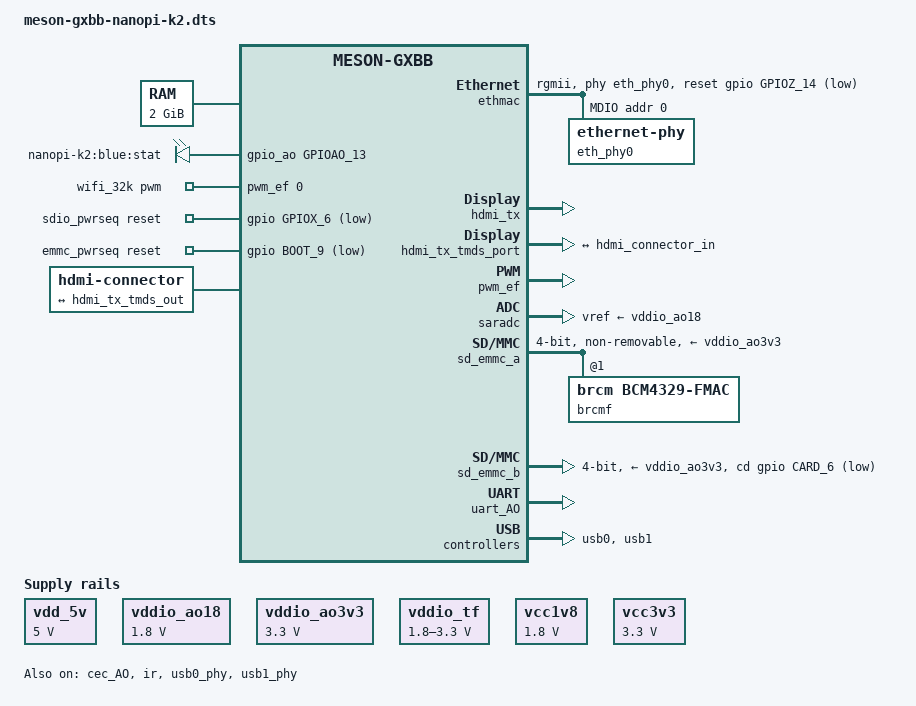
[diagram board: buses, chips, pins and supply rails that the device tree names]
// SPDX-License-Identifier: (GPL-2.0+ OR MIT)
/*
 * Copyright (c) 2017 Andreas Färber
 */

/dts-v1/;

#include "meson-gxbb.dtsi"
#include <dt-bindings/gpio/gpio.h>

/ {
	compatible = "friendlyarm,nanopi-k2", "amlogic,meson-gxbb";

	aliases {
		serial0 = &uart_AO;
		ethernet0 = &ethmac;
	};

	chosen {
		stdout-path = "serial0:115200n8";
	};

	memory@0 {
		device_type = "memory";
		reg = <0x0 0x0 0x0 0x80000000>;
	};

	leds {
		compatible = "gpio-leds";

		stat {
			label = "nanopi-k2:blue:stat";
			gpios = <&gpio_ao GPIOAO_13 GPIO_ACTIVE_HIGH>;
			default-state = "on";
			panic-indicator;
		};
	};

	vdd_5v: regulator-vdd-5v {
		compatible = "regulator-fixed";
		regulator-name = "VDD_5V";
		regulator-min-microvolt = <5000000>;
		regulator-max-microvolt = <5000000>;
	};

	vddio_ao18: regulator-vddio-ao18 {
		compatible = "regulator-fixed";
		regulator-name = "VDDIO_AO18";
		regulator-min-microvolt = <1800000>;
		regulator-max-microvolt = <1800000>;
	};

	vddio_ao3v3: regulator-vddio-ao3v3 {
		compatible = "regulator-fixed";
		regulator-name = "VDDIO_AO3.3V";
		regulator-min-microvolt = <3300000>;
		regulator-max-microvolt = <3300000>;
	};

	vddio_tf: regulator-vddio-tf {
		compatible = "regulator-gpio";

		regulator-name = "VDDIO_TF";
		regulator-min-microvolt = <1800000>;
		regulator-max-microvolt = <3300000>;

		gpios = <&gpio_ao GPIOAO_2 GPIO_ACTIVE_HIGH>;
		gpios-states = <0>;

		states = <3300000 0>,
		         <1800000 1>;

		regulator-settling-time-up-us = <100>;
		regulator-settling-time-down-us = <5000>;
	};

	wifi_32k: wifi-32k {
		compatible = "pwm-clock";
		#clock-cells = <0>;
		clock-frequency = <32768>;
		pwms = <&pwm_ef 0 30518 0>; /* PWM_E at 32.768KHz */
	};

	sdio_pwrseq: sdio-pwrseq {
		compatible = "mmc-pwrseq-simple";
		reset-gpios = <&gpio GPIOX_6 GPIO_ACTIVE_LOW>;
		clocks = <&wifi_32k>;
		clock-names = "ext_clock";
	};

	vcc1v8: regulator-vcc1v8 {
		compatible = "regulator-fixed";
		regulator-name = "VCC1.8V";
		regulator-min-microvolt = <1800000>;
		regulator-max-microvolt = <1800000>;
	};

	vcc3v3: regulator-vcc3v3 {
		compatible = "regulator-fixed";
		regulator-name = "VCC3.3V";
		regulator-min-microvolt = <3300000>;
		regulator-max-microvolt = <3300000>;
	};

	emmc_pwrseq: emmc-pwrseq {
		compatible = "mmc-pwrseq-emmc";
		reset-gpios = <&gpio BOOT_9 GPIO_ACTIVE_LOW>;
	};

	/* CVBS is available on CON1 pin 36, disabled by default */
	cvbs-connector {
		compatible = "composite-video-connector";
		status = "disabled";

		port {
			cvbs_connector_in: endpoint {
				remote-endpoint = <&cvbs_vdac_out>;
			};
		};
	};

	hdmi-connector {
		compatible = "hdmi-connector";
		type = "a";

		port {
			hdmi_connector_in: endpoint {
				remote-endpoint = <&hdmi_tx_tmds_out>;
			};
		};
	};
};

&cec_AO {
	status = "okay";
	pinctrl-0 = <&ao_cec_pins>;
	pinctrl-names = "default";
	hdmi-phandle = <&hdmi_tx>;
};

&cvbs_vdac_port {
	cvbs_vdac_out: endpoint {
		remote-endpoint = <&cvbs_connector_in>;
	};
};

&ethmac {
	status = "okay";
	pinctrl-0 = <&eth_rgmii_pins>;
	pinctrl-names = "default";

	phy-handle = <&eth_phy0>;
	phy-mode = "rgmii";

	amlogic,tx-delay-ns = <2>;

	snps,reset-gpio = <&gpio GPIOZ_14 0>;
	snps,reset-delays-us = <0 10000 1000000>;
	snps,reset-active-low;

	mdio {
		compatible = "snps,dwmac-mdio";
		#address-cells = <1>;
		#size-cells = <0>;

		eth_phy0: ethernet-phy@0 {
			/* Realtek RTL8211F (0x001cc916) */
			reg = <0>;
			interrupt-parent = <&gpio_intc>;
			/* MAC_INTR on GPIOZ_15 */
			interrupts = <29 IRQ_TYPE_LEVEL_LOW>;
		};
	};
};

&hdmi_tx {
	status = "okay";
	pinctrl-0 = <&hdmi_hpd_pins>, <&hdmi_i2c_pins>;
	pinctrl-names = "default";
};

&hdmi_tx_tmds_port {
	hdmi_tx_tmds_out: endpoint {
		remote-endpoint = <&hdmi_connector_in>;
	};
};

&ir {
	status = "okay";
	pinctrl-0 = <&remote_input_ao_pins>;
	pinctrl-names = "default";
};

&gpio_ao {
	gpio-line-names = "UART TX", "UART RX", "Power Control", "Power Key In",
			  "VCCK En", "CON1 Header Pin31",
			  "I2S Header Pin6", "IR In", "I2S Header Pin7",
			  "I2S Header Pin3", "I2S Header Pin4",
			  "I2S Header Pin5", "HDMI CEC", "SYS LED",
			  /* GPIO_TEST_N */
			  "";
};

&gpio {
	gpio-line-names = /* Bank GPIOZ */
			  "Eth MDIO", "Eth MDC", "Eth RGMII RX Clk",
			  "Eth RX DV", "Eth RX D0", "Eth RX D1", "Eth RX D2",
			  "Eth RX D3", "Eth RGMII TX Clk", "Eth TX En",
			  "Eth TX D0", "Eth TX D1", "Eth TX D2", "Eth TX D3",
			  "Eth PHY nRESET", "Eth PHY Intc",
			  /* Bank GPIOH */
			  "HDMI HPD", "HDMI DDC SDA", "HDMI DDC SCL",
			  "CON1 Header Pin33",
			  /* Bank BOOT */
			  "eMMC D0", "eMMC D1", "eMMC D2", "eMMC D3", "eMMC D4",
			  "eMMC D5", "eMMC D6", "eMMC D7", "eMMC Clk",
			  "eMMC Reset", "eMMC CMD",
			  "", "", "", "", "eMMC DS",
			  "", "",
			  /* Bank CARD */
			  "SDCard D1", "SDCard D0", "SDCard CLK", "SDCard CMD",
			  "SDCard D3", "SDCard D2", "SDCard Det",
			  /* Bank GPIODV */
			  "", "", "", "", "", "", "", "", "", "", "", "", "",
			  "", "", "", "", "", "", "", "", "", "", "",
			  "I2C A SDA", "I2C A SCK", "I2C B SDA", "I2C B SCK",
			  "VDDEE Regulator", "VCCK Regulator",
			  /* Bank GPIOY */
			  "CON1 Header Pin7", "CON1 Header Pin11",
			  "CON1 Header Pin13", "CON1 Header Pin15",
			  "CON1 Header Pin18", "CON1 Header Pin19",
			  "CON1 Header Pin22", "CON1 Header Pin21",
			  "CON1 Header Pin24", "CON1 Header Pin23",
			  "CON1 Header Pin26", "CON1 Header Pin29",
			  "CON1 Header Pin32", "CON1 Header Pin8",
			  "CON1 Header Pin10", "CON1 Header Pin16",
			  "CON1 Header Pin12",
			  /* Bank GPIOX */
			  "WIFI SDIO D0", "WIFI SDIO D1", "WIFI SDIO D2",
			  "WIFI SDIO D3", "WIFI SDIO CLK", "WIFI SDIO CMD",
			  "WIFI Power Enable", "WIFI WAKE HOST",
			  "Bluetooth PCM DOUT", "Bluetooth PCM DIN",
			  "Bluetooth PCM SYNC", "Bluetooth PCM CLK",
			  "Bluetooth UART TX", "Bluetooth UART RX",
			  "Bluetooth UART CTS", "Bluetooth UART RTS",
			  "", "", "", "WIFI 32K", "Bluetooth Enable",
			  "Bluetooth WAKE HOST", "",
			  /* Bank GPIOCLK */
			  "", "CON1 Header Pin35", "", "";
};

&pwm_ef {
	status = "okay";
	pinctrl-0 = <&pwm_e_pins>;
	pinctrl-names = "default";
	clocks = <&clkc CLKID_FCLK_DIV4>;
	clock-names = "clkin0";
};

&saradc {
	status = "okay";
	vref-supply = <&vddio_ao18>;
};

/* SDIO */
&sd_emmc_a {
	status = "okay";
	pinctrl-0 = <&sdio_pins>, <&sdio_irq_pins>;
	pinctrl-1 = <&sdio_clk_gate_pins>;
	pinctrl-names = "default", "clk-gate";
	#address-cells = <1>;
	#size-cells = <0>;

	bus-width = <4>;
	cap-sd-highspeed;
	max-frequency = <200000000>;

	non-removable;
	disable-wp;

	mmc-pwrseq = <&sdio_pwrseq>;

	vmmc-supply = <&vddio_ao3v3>;
	vqmmc-supply = <&vddio_ao18>;

	brcmf: wifi@1 {
		compatible = "brcm,bcm4329-fmac";
		reg = <1>;
	};
};

/* SD */
&sd_emmc_b {
	status = "okay";
	pinctrl-0 = <&sdcard_pins>;
	pinctrl-1 = <&sdcard_clk_gate_pins>;
	pinctrl-names = "default", "clk-gate";

	bus-width = <4>;
	cap-sd-highspeed;
	sd-uhs-sdr12;
	sd-uhs-sdr25;
	sd-uhs-sdr50;
	sd-uhs-sdr104;
	max-frequency = <200000000>;
	disable-wp;

	cd-gpios = <&gpio CARD_6 GPIO_ACTIVE_HIGH>;
	cd-inverted;

	vmmc-supply = <&vddio_ao3v3>;
	vqmmc-supply = <&vddio_tf>;
};

/* eMMC */
&sd_emmc_c {
	status = "disabled";
	pinctrl-0 = <&emmc_pins>, <&emmc_ds_pins>;
	pinctrl-1 = <&emmc_clk_gate_pins>;
	pinctrl-names = "default", "clk-gate";

	bus-width = <8>;
	max-frequency = <200000000>;
	non-removable;
	disable-wp;
	cap-mmc-highspeed;
	mmc-ddr-1_8v;
	mmc-hs200-1_8v;

	mmc-pwrseq = <&emmc_pwrseq>;
	vmmc-supply = <&vcc3v3>;
	vqmmc-supply = <&vcc1v8>;
};

/* DBG_UART */
&uart_AO {
	status = "okay";
	pinctrl-0 = <&uart_ao_a_pins>;
	pinctrl-names = "default";
};

/* Bluetooth on AP6212 */
&uart_A {
	status = "disabled";
	pinctrl-0 = <&uart_a_pins>, <&uart_a_cts_rts_pins>;
	pinctrl-names = "default";
};

/* 40-pin CON1 */
&uart_C {
	status = "disabled";
	pinctrl-0 = <&uart_c_pins>;
	pinctrl-names = "default";
};

&usb0_phy {
	status = "okay";
	phy-supply = <&vdd_5v>;
};

&usb1_phy {
	status = "okay";
};

&usb0 {
	status = "okay";
};

&usb1 {
	status = "okay";
};
